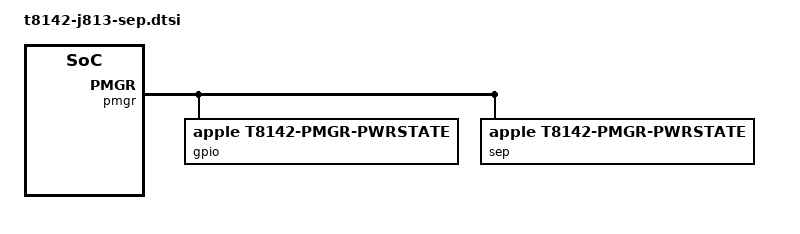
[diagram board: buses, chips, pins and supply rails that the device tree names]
// SPDX-License-Identifier: GPL-2.0+ OR MIT
/*
 * The J813's Secure Enclave, for the sleep: only its driver can ask it to sleep, which it
 * has to before the SoC goes down (at macOS's commit its domain reads DEV_DISABLE, actual 0).
 * From the J813 ADT: /arm-io/sep 0xfa600000 (+0x210000000), ascwrap v6, IRQs 445-448,
 * dart-sep; PMGR SEP word +0xc00 (always on, the enclave gates it itself), GPIO +0x120.
 */

/ {
	aliases {
		/* aura's dt_set_sep(): sepfw reserved, the boot-object manifests published */
		sep = &sep;
	};
};

&pmgr {
	ps_gpio: power-controller@120 {
		compatible = "apple,t8142-pmgr-pwrstate", "apple,t8103-pmgr-pwrstate";
		reg = <0x120 4>;
		#power-domain-cells = <0>;
		#reset-cells = <0>;
		label = "gpio";
		apple,always-on;
	};

	ps_sep: power-controller@c00 {
		compatible = "apple,t8142-pmgr-pwrstate", "apple,t8103-pmgr-pwrstate";
		reg = <0xc00 4>;
		#power-domain-cells = <0>;
		#reset-cells = <0>;
		label = "sep";
		apple,always-on;
	};
};

&{/soc} {
	sep: sep@30a600000 {
		compatible = "apple,sep";
		reg = <0x3 0x0a600000 0x0 0x88000>;
		mboxes = <&sep_mbox>;
		mbox-names = "mbox";
		iommus = <&sep_dart 0>;
		power-domains = <&ps_sep>, <&ps_gpio>;
	};

	sep_mbox: mailbox@30a608000 {
		compatible = "apple,t8142-asc-mailbox", "apple,asc-mailbox-v4";
		reg = <0x3 0x0a608000 0x0 0x4000>;
		interrupt-parent = <&aic>;
		interrupts = <AIC_IRQ 445 IRQ_TYPE_LEVEL_HIGH>,
			     <AIC_IRQ 446 IRQ_TYPE_LEVEL_HIGH>,
			     <AIC_IRQ 447 IRQ_TYPE_LEVEL_HIGH>,
			     <AIC_IRQ 448 IRQ_TYPE_LEVEL_HIGH>;
		interrupt-names = "send-empty", "send-not-empty",
				  "recv-empty", "recv-not-empty";
		#mbox-cells = <0>;
	};
};

/*
 * The SEP consumes the high IOVA on the wire, as in the ADT's vm-base-0.
 * An offset on a low DMA window moves only the DART mapping, not the address
 * sent in the shared-memory registration. Leave the DART disabled until
 * apple-sep enables it (dt.rs), with this window already described.
 */
&sep_dart {
	apple,dma-range = /bits/ 64 <0x10000004000 0xffff0000>;
	apple,dma-offset = /bits/ 64 <0x0>;
};
